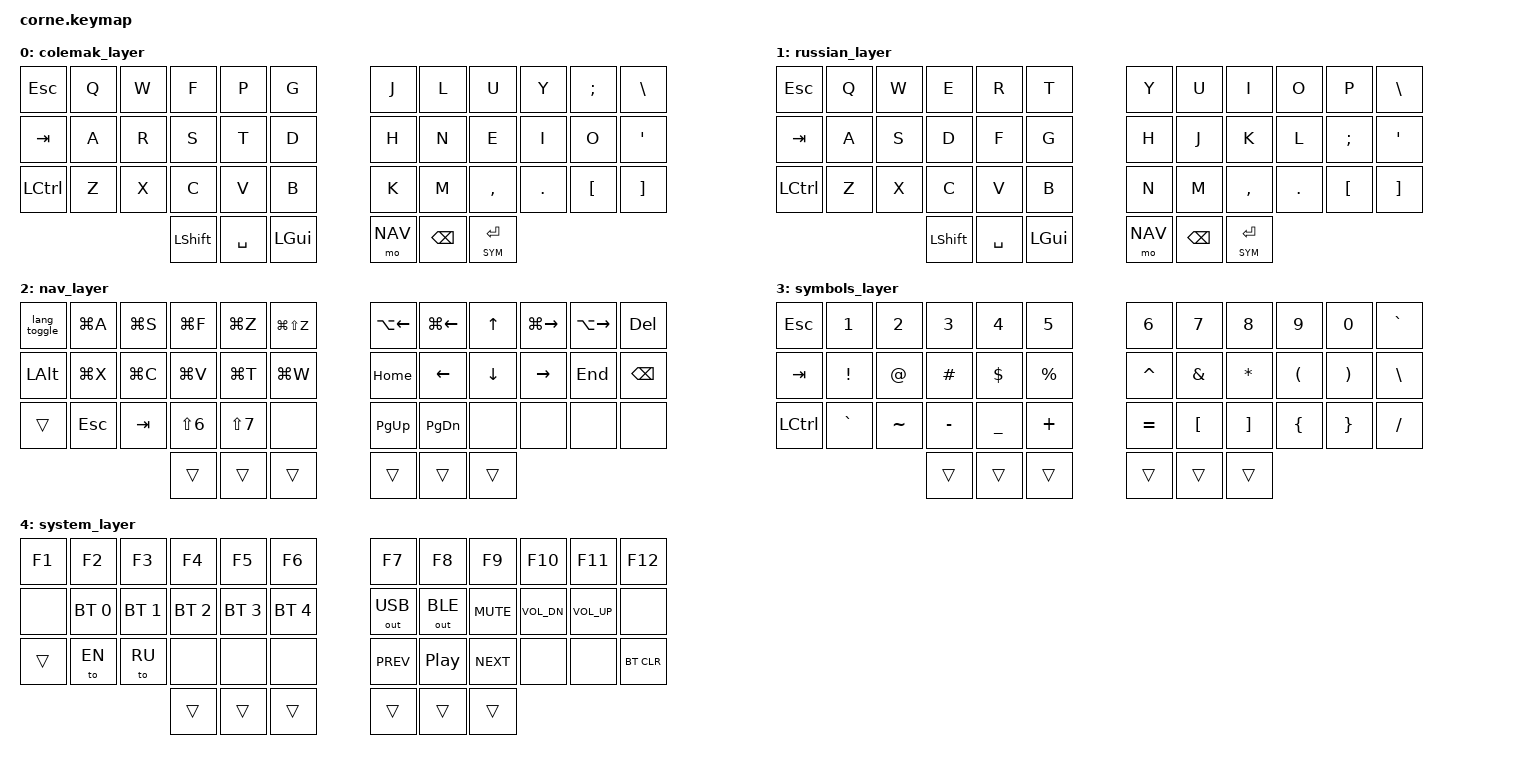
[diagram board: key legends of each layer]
/*
 * Copyright (c) 2020 The ZMK Contributors
 * SPDX-License-Identifier: MIT
 *
 * Corne 42 / firmware Colemak + Russian / macOS US/ABC + Apple Russian.
 * Local candidate; not a compiled or hardware-tested firmware.
 * Colemak is implemented here, not in the macOS input source.
 * NAV+Esc toggles RU and sends Cmd+Space. Start with US/ABC after boot.
 * SYS+physical Z/X selects EN/RU locally for recovery, without host keys.
 * Symbol legends below assume ABC/US unless explicitly marked Russian.
 */
#include <behaviors.dtsi>
#include <dt-bindings/zmk/bt.h>
#include <dt-bindings/zmk/keys.h>
#include <dt-bindings/zmk/outputs.h>

#define EN 0
#define RU 1
#define NAV 2
#define SYM 3
#define SYS 4

/* Apple Russian: BSLH = ё, Shift+6 = comma, Shift+7 = period.
 * These are host-layout-dependent keycodes, not Unicode output.
 */
#define RU_YO BSLH
#define RU_COMMA LS(N6)
#define RU_DOT LS(N7)

&lt {
    flavor = "balanced";
    tapping-term-ms = <200>;
    quick-tap-ms = <150>;
};

/ {
    macros {
        lang_toggle: language_toggle {
            compatible = "zmk,behavior-macro";
            #binding-cells = <0>;
            wait-ms = <0>;
            tap-ms = <30>;
            // Complete the host shortcut before changing the local base.
            // Exactly two host input sources and Cmd+Space are required.
            bindings = <&macro_tap &kp LG(SPACE)>,
                       <&macro_tap_time 0>, <&tog RU>;
        };
    };

    conditional_layers {
        compatible = "zmk,conditional-layers";
        system_layer {
            if-layers = <NAV SYM>;
            then-layer = <SYS>;
        };
    };

    keymap {
        compatible = "zmk,keymap";

        colemak_layer {
            // Standard Colemak, NOT Colemak-DH. Host source must be US/ABC.
            // ESC  Q W F P G | J L U Y ; BSLH
            // TAB  A R S T D | H N E I O SQT
            // CTRL Z X C V B | K M , . [ ]
            bindings = <
&kp ESC   &kp Q &kp W &kp F &kp P &kp G     &kp J &kp L &kp U     &kp Y   &kp SEMI &kp BSLH
&kp TAB   &kp A &kp R &kp S &kp T &kp D     &kp H &kp N &kp E     &kp I   &kp O    &kp SQT
&kp LCTRL &kp Z &kp X &kp C &kp V &kp B     &kp K &kp M &kp COMMA &kp DOT &kp LBKT &kp RBKT
                      &kp LSHFT &kp SPACE &kp LGUI     &mo NAV &kp BSPC &lt SYM RET
            >;
        };

        russian_layer {
            // ESC  Й Ц У К Е | Н Г Ш Щ З Ё
            // TAB  Ф Ы В А П | Р О Л Д Ж Э
            // CTRL Я Ч С М И | Т Ь Б Ю Х Ъ
            //      SHIFT SPACE CMD | NAV BACKSPACE ENTER/SYM
            bindings = <
&kp ESC   &kp Q &kp W &kp E &kp R &kp T     &kp Y &kp U &kp I     &kp O   &kp P    &kp RU_YO
&kp TAB   &kp A &kp S &kp D &kp F &kp G     &kp H &kp J &kp K     &kp L   &kp SEMI &kp SQT
&kp LCTRL &kp Z &kp X &kp C &kp V &kp B     &kp N &kp M &kp COMMA &kp DOT &kp LBKT &kp RBKT
                      &kp LSHFT &kp SPACE &kp LGUI     &mo NAV &kp BSPC &lt SYM RET
            >;
        };

        nav_layer {
            // NAV+Esc changes the local base and sends the macOS language shortcut.
            // Word/start/end movement uses macOS Option/Command + arrows.
            // Bottom-left punctuation is specifically for Apple Russian.
            bindings = <
&lang_toggle  &kp LG(A) &kp LG(S) &kp LG(F) &kp LG(Z) &kp LG(LS(Z))   &kp LA(LEFT) &kp LG(LEFT) &kp UP   &kp LG(RIGHT) &kp LA(RIGHT) &kp DEL
&kp LALT      &kp LG(X) &kp LG(C) &kp LG(V) &kp LG(T) &kp LG(W)       &kp HOME     &kp LEFT     &kp DOWN &kp RIGHT     &kp END       &kp BSPC
&trans        &kp ESC   &kp TAB   &kp RU_COMMA &kp RU_DOT &none       &kp PG_UP    &kp PG_DN    &none    &none         &none         &none
                                  &trans &trans &trans              &trans &trans &trans
            >;
        };

        symbols_layer {
            // English/ABC legends. Russian punctuation: NAV+C / NAV+V.
            // Upper row numbers also provide Russian shifted punctuation.
            bindings = <
&kp ESC   &kp N1    &kp N2    &kp N3    &kp N4    &kp N5       &kp N6    &kp N7   &kp N8   &kp N9   &kp N0   &kp GRAVE
&kp TAB   &kp EXCL  &kp AT    &kp HASH  &kp DLLR  &kp PRCNT    &kp CARET &kp AMPS &kp STAR &kp LPAR &kp RPAR &kp BSLH
&kp LCTRL &kp GRAVE &kp TILDE &kp MINUS &kp UNDER &kp PLUS     &kp EQUAL &kp LBKT &kp RBKT &kp LBRC &kp RBRC &kp FSLH
                             &trans &trans &trans            &trans &trans &trans
            >;
        };

        system_layer {
            // Hold NAV and ENTER/SYM together. Thumbs remain transparent.
            // SYS+physical Z => EN, SYS+physical X => RU; local recovery only.
            // BT_CLR clears ONLY the selected host profile; no BT_CLR_ALL.
            bindings = <
&kp F1 &kp F2 &kp F3 &kp F4 &kp F5 &kp F6                       &kp F7 &kp F8 &kp F9 &kp F10 &kp F11 &kp F12
&none &bt BT_SEL 0 &bt BT_SEL 1 &bt BT_SEL 2 &bt BT_SEL 3 &bt BT_SEL 4  &out OUT_USB &out OUT_BLE &kp C_MUTE &kp C_VOL_DN &kp C_VOL_UP &none
&trans &to EN &to RU &none &none &none                          &kp C_PREV &kp C_PP &kp C_NEXT &none &none &bt BT_CLR
                       &trans &trans &trans                    &trans &trans &trans
            >;
        };
    };
};
